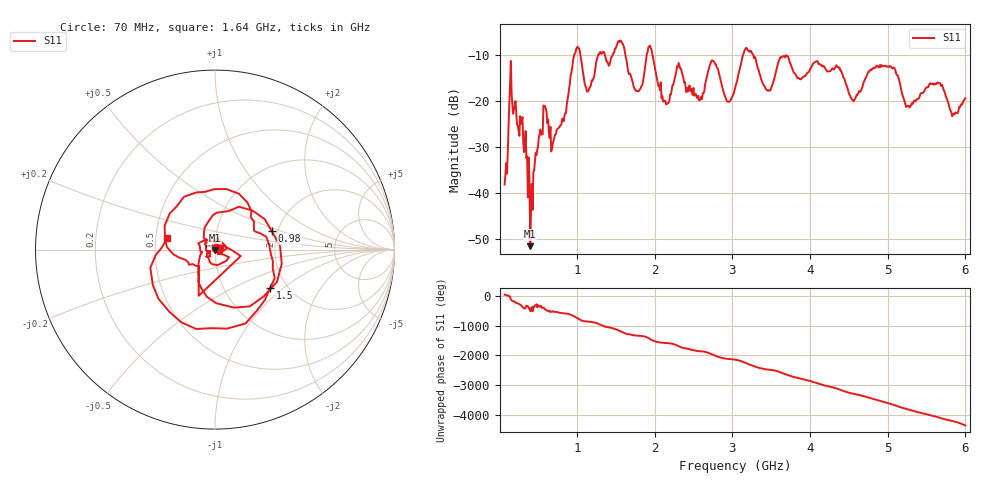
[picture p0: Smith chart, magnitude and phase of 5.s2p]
! S21 sweep bladeRF  2018-06-22T09:48:04
! Window=bharris  Blocks=64  Samples=2048  Method=median
! TX LUT = thru_txlut.csv
# Hz S DB R 50
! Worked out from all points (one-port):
!   594 points, 70 MHz to 6 GHz, reference 50 ohm
!   lowest |S11| = -51.5 dB at 400 MHz (marker M1), VSWR 1.01, Z = 49.8 - j0.163 ohm
!   |S11| at or under -10 dB: start of sweep to 966.3 MHz; 1.973 GHz to 3.139 GHz (1.166 GHz wide, 45.6 % of centre); 3.27 GHz to end of sweep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
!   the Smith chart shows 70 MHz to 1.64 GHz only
!   S11 on the Smith chart (normalised r, x): 70 MHz: 1.01, +0.02; 980 MHz: 1.86, +0.43; 1.5 GHz: 1.63, -0.81; 1.64 GHz: 0.57, +0.08
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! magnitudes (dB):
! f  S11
! 70 MHz  -38.1
! 150 MHz  -11.3
! 290 MHz  -24.4
! 400 MHz  -51.5
! 590 MHz  -21.1
! 690 MHz  -29.2
! 820 MHz  -23.9
! 980 MHz  -9.6
! 1.14 GHz  -18.0
! 1.5 GHz  -8.5
! 1.56 GHz  -6.8
! 1.64 GHz  -11.2
! 1.79 GHz  -17.9
! 1.94 GHz  -8.0
! 2.16 GHz  -20.6
! 2.3 GHz  -12.7
! 2.57 GHz  -19.8
! 2.75 GHz  -11.2
! 2.94 GHz  -20.1
! 3.04 GHz  -16.9
! 3.18 GHz  -8.4
! 3.46 GHz  -17.8
! 3.78 GHz  -13.3
! 4.36 GHz  -12.7
! 4.52 GHz  -19.0
! 5.02 GHz  -12.6
! 5.26 GHz  -21.1
! 6 GHz  -19.4
